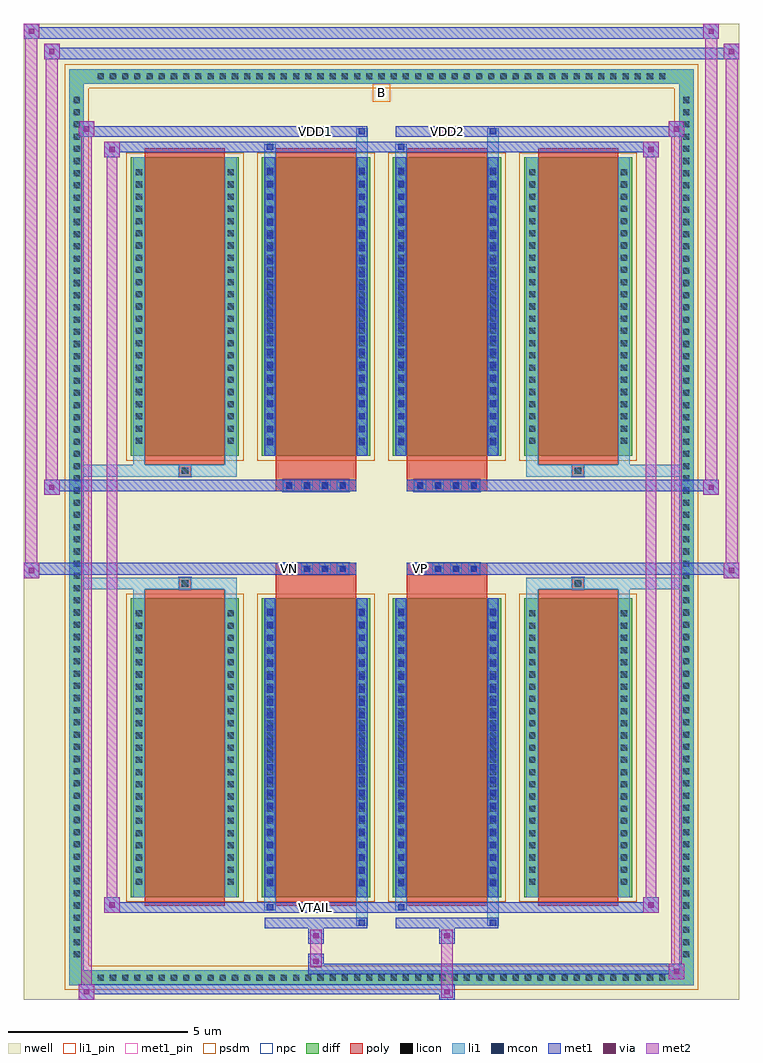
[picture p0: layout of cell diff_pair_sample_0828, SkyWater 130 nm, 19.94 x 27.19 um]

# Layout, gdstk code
import gdstk
lib = gdstk.Library(unit=1e-6, precision=5e-09)
def R(c, l, rs):  # rectangles x0, y0, x1, y1
    for r in rs: c.add(gdstk.rectangle(r[:2], r[2:], *l))
def A(c, l, x, y, w, h, nx, ny, dx, dy):  # array of equal rectangles
    R(c, l, [(x+i*dx, y+j*dy, x+i*dx+w, y+j*dy+h) for i in range(nx) for j in range(ny)])
def P(c, l, *ps):  # polygons
    for p in ps: c.add(gdstk.Polygon(p, *l))
nwell = (64, 20)
diff = (65, 20)
poly = (66, 20)
licon = (66, 44)
li1_pin = (67, 16)
li1 = (67, 20)
mcon = (67, 44)
met1_pin = (68, 16)
met1 = (68, 20)
via = (68, 44)
met2 = (69, 20)
psdm = (94, 20)
npc = (95, 20)

diff_pair_sample_0828 = lib.new_cell('diff_pair_sample_0828')
R(diff_pair_sample_0828, nwell, [(-9.97,-13.16,9.97,14.03), (-7.29,-11.35,-0.01,-0.795), (0.01,-11.35,7.29,-0.795), (-7.29,0.795,-0.01,11.35), (0.01,0.795,7.29,11.35)])
A(diff_pair_sample_0828, diff, -8.025, -12.76, 0.41, 0.41, 47, 2, 0.34, 25.11)
A(diff_pair_sample_0828, diff, -8.7, -12.105, 0.41, 0.41, 1, 71, 0, 0.34)
A(diff_pair_sample_0828, diff, 8.29, -12.105, 0.41, 0.41, 1, 71, 0, 0.34)
A(diff_pair_sample_0828, diff, -6.98, -10.305, 3.01, 8.32, 4, 2, 3.65, 12.29)
R(diff_pair_sample_0828, diff, [(-8.025,-12.76,8.025,-12.35), (-8.7,-12.105,-8.29,12.105), (8.29,-12.105,8.7,12.105), (-8.025,12.35,8.025,12.76)])
P(diff_pair_sample_0828, diff, [(8.7,12.76),(-8.7,12.76),(-8.7,-12.35),(-8.29,-12.35),(-8.29,12.35),(8.29,12.35),(8.29,-12.35),(-8.29,-12.35),(-8.7,-12.35),(-8.7,-12.76),(8.7,-12.76)])
A(diff_pair_sample_0828, poly, -6.59, -10.555, 2.23, 8.82, 4, 2, 3.65, 12.29)
A(diff_pair_sample_0828, poly, -2.74, -1.325, 0.33, 0.33, 4, 2, 0.5, 2.32)
A(diff_pair_sample_0828, poly, 0.91, -1.325, 0.33, 0.33, 4, 2, 0.5, 2.32)
R(diff_pair_sample_0828, poly, [(-5.64,-1.735,-5.31,-1.405), (-5.64,-1.735,-5.31,-1.405), (-2.94,-1.735,-0.71,-1.325), (0.71,-1.735,2.94,-1.325), (5.31,-1.735,5.64,-1.405), (5.31,-1.735,5.64,-1.405), (-2.94,-1.325,-0.71,-0.995), (0.71,-1.325,2.94,-0.995), (-2.94,0.995,-0.71,1.325), (0.71,0.995,2.94,1.325), (-2.94,1.325,-0.71,1.735), (0.71,1.325,2.94,1.735), (-5.64,1.405,-5.31,1.735), (-5.64,1.405,-5.31,1.735), (5.31,1.405,5.64,1.735), (5.31,1.405,5.64,1.735)])
A(diff_pair_sample_0828, licon, -7.905, -12.64, 0.17, 0.17, 47, 2, 0.34, 25.11)
A(diff_pair_sample_0828, licon, -8.58, -11.985, 0.17, 0.17, 1, 71, 0, 0.34)
A(diff_pair_sample_0828, licon, 8.41, -11.985, 0.17, 0.17, 1, 71, 0, 0.34)
A(diff_pair_sample_0828, licon, -6.84, -9.97, 0.17, 0.17, 1, 23, 0, 0.34)
A(diff_pair_sample_0828, licon, -4.28, -9.97, 0.17, 0.17, 1, 23, 0, 0.34)
A(diff_pair_sample_0828, licon, -3.19, -9.97, 0.17, 0.17, 1, 23, 0, 0.34)
A(diff_pair_sample_0828, licon, -0.63, -9.97, 0.17, 0.17, 1, 23, 0, 0.34)
A(diff_pair_sample_0828, licon, 0.46, -9.97, 0.17, 0.17, 1, 23, 0, 0.34)
A(diff_pair_sample_0828, licon, 3.02, -9.97, 0.17, 0.17, 1, 23, 0, 0.34)
A(diff_pair_sample_0828, licon, 4.11, -9.97, 0.17, 0.17, 1, 23, 0, 0.34)
A(diff_pair_sample_0828, licon, 6.67, -9.97, 0.17, 0.17, 1, 23, 0, 0.34)
A(diff_pair_sample_0828, licon, -2.66, -1.245, 0.17, 0.17, 4, 2, 0.5, 2.32)
A(diff_pair_sample_0828, licon, 0.99, -1.245, 0.17, 0.17, 4, 2, 0.5, 2.32)
A(diff_pair_sample_0828, licon, -6.84, 2.32, 0.17, 0.17, 1, 23, 0, 0.34)
A(diff_pair_sample_0828, licon, -4.28, 2.32, 0.17, 0.17, 1, 23, 0, 0.34)
A(diff_pair_sample_0828, licon, -3.19, 2.32, 0.17, 0.17, 1, 23, 0, 0.34)
A(diff_pair_sample_0828, licon, -0.63, 2.32, 0.17, 0.17, 1, 23, 0, 0.34)
A(diff_pair_sample_0828, licon, 0.46, 2.32, 0.17, 0.17, 1, 23, 0, 0.34)
A(diff_pair_sample_0828, licon, 3.02, 2.32, 0.17, 0.17, 1, 23, 0, 0.34)
A(diff_pair_sample_0828, licon, 4.11, 2.32, 0.17, 0.17, 1, 23, 0, 0.34)
A(diff_pair_sample_0828, licon, 6.67, 2.32, 0.17, 0.17, 1, 23, 0, 0.34)
R(diff_pair_sample_0828, licon, [(-5.56,-1.655,-5.39,-1.485), (5.39,-1.655,5.56,-1.485), (-5.56,1.485,-5.39,1.655), (5.39,1.485,5.56,1.655)])
R(diff_pair_sample_0828, li1_pin, [(-0.25,11.85,0.25,12.35)])
A(diff_pair_sample_0828, li1, -7.985, -12.72, 0.33, 0.33, 47, 2, 0.34, 25.11)
A(diff_pair_sample_0828, li1, -8.66, -12.065, 0.33, 0.33, 1, 71, 0, 0.34)
A(diff_pair_sample_0828, li1, 8.33, -12.065, 0.33, 0.33, 1, 71, 0, 0.34)
A(diff_pair_sample_0828, li1, -6.92, -10.05, 0.33, 0.33, 1, 23, 0, 0.34)
A(diff_pair_sample_0828, li1, -4.36, -10.05, 0.33, 0.33, 1, 23, 0, 0.34)
A(diff_pair_sample_0828, li1, -3.27, -10.05, 0.33, 0.33, 1, 23, 0, 0.34)
A(diff_pair_sample_0828, li1, -0.71, -10.05, 0.33, 0.33, 1, 23, 0, 0.34)
A(diff_pair_sample_0828, li1, 0.38, -10.05, 0.33, 0.33, 1, 23, 0, 0.34)
A(diff_pair_sample_0828, li1, 2.94, -10.05, 0.33, 0.33, 1, 23, 0, 0.34)
A(diff_pair_sample_0828, li1, 4.03, -10.05, 0.33, 0.33, 1, 23, 0, 0.34)
A(diff_pair_sample_0828, li1, 6.59, -10.05, 0.33, 0.33, 1, 23, 0, 0.34)
A(diff_pair_sample_0828, li1, -3.19, -10.01, 0.17, 0.17, 1, 22, 0, 0.36)
A(diff_pair_sample_0828, li1, -0.63, -10.01, 0.17, 0.17, 1, 22, 0, 0.36)
A(diff_pair_sample_0828, li1, 0.46, -10.01, 0.17, 0.17, 1, 22, 0, 0.36)
A(diff_pair_sample_0828, li1, 3.02, -10.01, 0.17, 0.17, 1, 22, 0, 0.36)
A(diff_pair_sample_0828, li1, -2.74, -1.325, 0.33, 0.33, 4, 2, 0.5, 2.32)
A(diff_pair_sample_0828, li1, 0.91, -1.325, 0.33, 0.33, 4, 2, 0.5, 2.32)
A(diff_pair_sample_0828, li1, -6.92, 2.24, 0.33, 0.33, 1, 23, 0, 0.34)
A(diff_pair_sample_0828, li1, -4.36, 2.24, 0.33, 0.33, 1, 23, 0, 0.34)
A(diff_pair_sample_0828, li1, -3.27, 2.24, 0.33, 0.33, 1, 23, 0, 0.34)
A(diff_pair_sample_0828, li1, -0.71, 2.24, 0.33, 0.33, 1, 23, 0, 0.34)
A(diff_pair_sample_0828, li1, 0.38, 2.24, 0.33, 0.33, 1, 23, 0, 0.34)
A(diff_pair_sample_0828, li1, 2.94, 2.24, 0.33, 0.33, 1, 23, 0, 0.34)
A(diff_pair_sample_0828, li1, 4.03, 2.24, 0.33, 0.33, 1, 23, 0, 0.34)
A(diff_pair_sample_0828, li1, 6.59, 2.24, 0.33, 0.33, 1, 23, 0, 0.34)
A(diff_pair_sample_0828, li1, -3.19, 2.28, 0.17, 0.17, 1, 22, 0, 0.36)
A(diff_pair_sample_0828, li1, -0.63, 2.28, 0.17, 0.17, 1, 22, 0, 0.36)
A(diff_pair_sample_0828, li1, 0.46, 2.28, 0.17, 0.17, 1, 22, 0, 0.36)
A(diff_pair_sample_0828, li1, 3.02, 2.28, 0.17, 0.17, 1, 22, 0, 0.36)
R(diff_pair_sample_0828, li1, [(-8.7,-12.76,-8.29,-12.35), (-8.7,-12.76,-8.29,-12.35), (-8.29,-12.76,8.29,-12.35), (8.29,-12.76,8.7,-12.35), (8.29,-12.76,8.7,-12.35), (-8.7,-12.35,-8.29,12.35), (8.29,-12.35,8.7,12.35), (-0.71,-11.11,-0.38,-10.305), (-0.63,-11.11,-0.46,-10.94), (2.94,-11.11,3.27,-10.305), (3.02,-11.11,3.19,-10.94), (-3.27,-10.68,-2.94,-10.305), (-3.19,-10.68,-3.02,-10.51), (0.38,-10.68,0.71,-10.305), (0.46,-10.68,0.63,-10.51), (-6.92,-10.305,-6.59,-1.985), (-4.36,-10.305,-4.03,-1.985), (-3.27,-10.305,-2.94,-1.985), (-0.71,-10.305,-0.38,-1.985), (0.38,-10.305,0.71,-1.985), (2.94,-10.305,3.27,-1.985), (4.03,-10.305,4.36,-1.985), (6.59,-10.305,6.92,-1.985), (-3.19,-10.01,-3.02,-2.28), (-0.63,-10.01,-0.46,-2.28), (0.46,-10.01,0.63,-2.28), (3.02,-10.01,3.19,-2.28), (-6.92,-1.985,-6.59,-1.405), (-4.36,-1.985,-4.03,-1.405), (4.03,-1.985,4.36,-1.405), (6.59,-1.985,6.92,-1.405), (-8.7,-1.735,-5.64,-1.405), (-6.92,-1.735,-5.64,-1.405), (-5.64,-1.735,-5.31,-1.405), (-5.31,-1.735,-4.03,-1.405), (4.03,-1.735,5.31,-1.405), (5.31,-1.735,5.64,-1.405), (5.31,-1.735,8.7,-1.405), (5.64,-1.735,6.92,-1.405), (-8.7,1.405,-5.64,1.735), (-6.92,1.405,-5.64,1.735), (-6.92,1.405,-6.59,1.985), (-5.64,1.405,-5.31,1.735), (-5.31,1.405,-4.03,1.735), (-4.36,1.405,-4.03,1.985), (4.03,1.405,5.31,1.735), (4.03,1.405,4.36,1.985), (5.31,1.405,5.64,1.735), (5.31,1.405,8.7,1.735), (5.64,1.405,6.92,1.735), (6.59,1.405,6.92,1.985), (-6.92,1.985,-6.59,10.305), (-4.36,1.985,-4.03,10.305), (-3.27,1.985,-2.94,10.305), (-0.71,1.985,-0.38,10.305), (0.38,1.985,0.71,10.305), (2.94,1.985,3.27,10.305), (4.03,1.985,4.36,10.305), (6.59,1.985,6.92,10.305), (-3.19,2.28,-3.02,10.01), (-0.63,2.28,-0.46,10.01), (0.46,2.28,0.63,10.01), (3.02,2.28,3.19,10.01), (-3.27,10.305,-2.94,10.68), (-0.71,10.305,-0.38,11.11), (0.38,10.305,0.71,10.68), (2.94,10.305,3.27,11.11), (-3.19,10.51,-3.02,10.68), (0.46,10.51,0.63,10.68), (-0.63,10.94,-0.46,11.11), (3.02,10.94,3.19,11.11), (-8.7,12.35,-8.29,12.76), (-8.7,12.35,-8.29,12.76), (-8.29,12.35,8.29,12.76), (8.29,12.35,8.7,12.76), (8.29,12.35,8.7,12.76)])
A(diff_pair_sample_0828, mcon, -3.19, -10.01, 0.17, 0.17, 1, 22, 0, 0.36)
A(diff_pair_sample_0828, mcon, -0.63, -10.01, 0.17, 0.17, 1, 22, 0, 0.36)
A(diff_pair_sample_0828, mcon, 0.46, -10.01, 0.17, 0.17, 1, 22, 0, 0.36)
A(diff_pair_sample_0828, mcon, 3.02, -10.01, 0.17, 0.17, 1, 22, 0, 0.36)
A(diff_pair_sample_0828, mcon, -2.66, -1.245, 0.17, 0.17, 4, 2, 0.5, 2.32)
A(diff_pair_sample_0828, mcon, 0.99, -1.245, 0.17, 0.17, 4, 2, 0.5, 2.32)
A(diff_pair_sample_0828, mcon, -3.19, 2.28, 0.17, 0.17, 1, 22, 0, 0.36)
A(diff_pair_sample_0828, mcon, -0.63, 2.28, 0.17, 0.17, 1, 22, 0, 0.36)
A(diff_pair_sample_0828, mcon, 0.46, 2.28, 0.17, 0.17, 1, 22, 0, 0.36)
A(diff_pair_sample_0828, mcon, 3.02, 2.28, 0.17, 0.17, 1, 22, 0, 0.36)
R(diff_pair_sample_0828, mcon, [(-0.63,-11.11,-0.46,-10.94), (3.02,-11.11,3.19,-10.94), (-3.19,-10.68,-3.02,-10.51), (0.46,-10.68,0.63,-10.51), (-3.19,10.51,-3.02,10.68), (0.46,10.51,0.63,10.68), (-0.63,10.94,-0.46,11.11), (3.02,10.94,3.19,11.11)])
R(diff_pair_sample_0828, met1_pin, [(-1.96,-10.72,-1.69,-10.45), (-2.71,-1.285,-2.44,-1.015), (0.94,-1.285,1.21,-1.015), (-1.96,10.9,-1.69,11.17), (1.69,10.9,1.96,11.17)])
A(diff_pair_sample_0828, met1, -3.25, -10.07, 0.29, 0.29, 1, 22, 0, 0.36)
A(diff_pair_sample_0828, met1, -0.69, -10.07, 0.29, 0.29, 1, 22, 0, 0.36)
A(diff_pair_sample_0828, met1, 0.4, -10.07, 0.29, 0.29, 1, 22, 0, 0.36)
A(diff_pair_sample_0828, met1, 2.96, -10.07, 0.29, 0.29, 1, 22, 0, 0.36)
A(diff_pair_sample_0828, met1, -2.72, -1.305, 0.29, 0.29, 4, 2, 0.5, 2.32)
A(diff_pair_sample_0828, met1, 0.93, -1.305, 0.29, 0.29, 4, 2, 0.5, 2.32)
A(diff_pair_sample_0828, met1, -3.25, 2.22, 0.29, 0.29, 1, 22, 0, 0.36)
A(diff_pair_sample_0828, met1, -0.69, 2.22, 0.29, 0.29, 1, 22, 0, 0.36)
A(diff_pair_sample_0828, met1, 0.4, 2.22, 0.29, 0.29, 1, 22, 0, 0.36)
A(diff_pair_sample_0828, met1, 2.96, 2.22, 0.29, 0.29, 1, 22, 0, 0.36)
R(diff_pair_sample_0828, met1, [(-8.43,-13.16,-8,-12.73), (1.61,-13.16,2.04,-12.73), (-8.43,-13.02,2.04,-12.73), (8,-12.59,8.43,-12.16), (-2.04,-12.45,8.43,-12.16), (-2.04,-12.31,-1.61,-11.88), (-2.04,-11.6,-1.61,-11.17), (1.61,-11.6,2.04,-11.17), (-3.25,-11.17,-0.4,-10.88), (-0.69,-11.17,-0.4,-10.88), (0.4,-11.17,3.25,-10.88), (2.96,-11.17,3.25,-10.88), (-7.72,-10.74,-7.29,-10.31), (-7.72,-10.74,-3.25,-10.45), (-3.25,-10.74,-2.96,-10.45), (-3.25,-10.74,-0.4,-10.45), (-0.4,-10.74,0.4,-10.45), (0.4,-10.74,0.69,-10.45), (0.4,-10.74,3.25,-10.45), (3.25,-10.74,7.72,-10.45), (7.29,-10.74,7.72,-10.31), (-3.25,-10.305,-2.96,-1.985), (-0.69,-10.305,-0.4,-1.985), (0.4,-10.305,0.69,-1.985), (2.96,-10.305,3.25,-1.985), (-9.97,-1.425,-9.54,-0.995), (9.54,-1.425,9.97,-0.995), (-9.97,-1.325,-0.71,-0.995), (-2.94,-1.325,-0.71,-0.995), (0.71,-1.325,2.94,-0.995), (0.71,-1.325,9.97,-0.995), (-9.4,0.895,-8.97,1.325), (8.97,0.895,9.4,1.325), (-9.4,0.995,-2.94,1.325), (-2.94,0.995,-0.71,1.325), (0.71,0.995,2.94,1.325), (2.94,0.995,9.4,1.325), (-3.25,1.985,-2.96,10.305), (-0.69,1.985,-0.4,10.305), (0.4,1.985,0.69,10.305), (2.96,1.985,3.25,10.305), (-7.72,10.31,-7.29,10.74), (7.29,10.31,7.72,10.74), (-7.72,10.45,-3.25,10.74), (-3.25,10.45,-2.96,10.74), (-3.25,10.45,-0.4,10.74), (-0.4,10.45,0.4,10.74), (0.4,10.45,0.69,10.74), (0.4,10.45,3.25,10.74), (3.25,10.45,7.72,10.74), (-8.43,10.88,-8,11.31), (-8.43,10.88,-3.25,11.17), (-3.25,10.88,-0.4,11.17), (-0.69,10.88,-0.4,11.17), (0.4,10.88,3.25,11.17), (2.96,10.88,3.25,11.17), (3.25,10.88,8.43,11.17), (8,10.88,8.43,11.31), (-9.4,13.03,-8.97,13.46), (-9.4,13.03,-7.29,13.36), (-7.29,13.03,7.29,13.36), (7.29,13.03,9.97,13.36), (9.54,13.03,9.97,13.46), (-9.97,13.6,-9.54,14.03), (-9.97,13.6,-7.29,13.93), (-7.29,13.6,7.29,13.93), (7.29,13.6,9.4,13.93), (8.97,13.6,9.4,14.03)])
R(diff_pair_sample_0828, via, [(-8.29,-13.02,-8.14,-12.87), (1.75,-13.02,1.9,-12.87), (8.14,-12.45,8.29,-12.3), (-1.9,-12.17,-1.75,-12.02), (-1.9,-11.46,-1.75,-11.31), (1.75,-11.46,1.9,-11.31), (-7.58,-10.6,-7.43,-10.45), (7.43,-10.6,7.58,-10.45), (-9.83,-1.285,-9.68,-1.135), (9.68,-1.285,9.83,-1.135), (-9.26,1.035,-9.11,1.185), (9.11,1.035,9.26,1.185), (-7.58,10.45,-7.43,10.6), (7.43,10.45,7.58,10.6), (-8.29,11.02,-8.14,11.17), (8.14,11.02,8.29,11.17), (-9.26,13.17,-9.11,13.32), (9.68,13.17,9.83,13.32), (-9.83,13.74,-9.68,13.89), (9.11,13.74,9.26,13.89)])
R(diff_pair_sample_0828, met2, [(-8.43,-13.16,-8,-12.73), (-8.36,-13.16,-8.07,11.31), (-8.07,-13.16,-8,-12.73), (-8.38,-13.11,-8.05,-12.78), (1.66,-13.11,1.99,-12.78), (1.66,-12.78,1.99,-11.55), (8,-12.59,8.43,-12.16), (8.07,-12.59,8.36,11.31), (8.36,-12.59,8.43,-12.16), (8.05,-12.54,8.38,-12.21), (-1.99,-12.26,-1.66,-11.93), (-1.99,-11.93,-1.66,-11.55), (-1.99,-11.55,-1.66,-11.22), (1.66,-11.55,1.99,-11.22), (-7.72,-10.74,-7.29,-10.31), (-7.65,-10.74,-7.36,10.74), (-7.36,-10.74,-7.29,-10.31), (7.29,-10.74,7.72,-10.31), (7.36,-10.74,7.65,10.74), (7.65,-10.74,7.72,-10.31), (-7.67,-10.69,-7.34,-10.36), (7.34,-10.69,7.67,-10.36), (-9.97,-1.425,-9.54,-0.995), (-9.92,-1.425,-9.59,14.03), (-9.59,-1.425,-9.54,-0.995), (9.54,-1.425,9.97,-0.995), (9.59,-1.425,9.92,13.46), (9.92,-1.425,9.97,-0.995), (-9.92,-1.375,-9.59,-1.045), (9.59,-1.375,9.92,-1.045), (-9.4,0.895,-8.97,1.325), (-9.35,0.895,-9.02,13.46), (-9.02,0.895,-8.97,1.325), (8.97,0.895,9.4,1.325), (9.02,0.895,9.35,14.03), (9.35,0.895,9.4,1.325), (-9.35,0.945,-9.02,1.275), (9.02,0.945,9.35,1.275), (-7.72,10.31,-7.29,10.74), (-7.36,10.31,-7.29,10.74), (7.29,10.31,7.72,10.74), (7.65,10.31,7.72,10.74), (-7.67,10.36,-7.34,10.69), (7.34,10.36,7.67,10.69), (-8.43,10.88,-8,11.31), (-8.07,10.88,-8,11.31), (8,10.88,8.43,11.31), (8.36,10.88,8.43,11.31), (-8.38,10.93,-8.05,11.26), (8.05,10.93,8.38,11.26), (-9.4,13.03,-8.97,13.46), (-9.02,13.03,-8.97,13.46), (9.54,13.03,9.97,13.46), (9.92,13.03,9.97,13.46), (-9.35,13.08,-9.02,13.41), (9.59,13.08,9.92,13.41), (-9.97,13.6,-9.54,14.03), (-9.59,13.6,-9.54,14.03), (8.97,13.6,9.4,14.03), (9.35,13.6,9.4,14.03), (-9.92,13.65,-9.59,13.98), (9.02,13.65,9.35,13.98)])
A(diff_pair_sample_0828, psdm, -7.11, -10.435, 3.27, 8.58, 4, 2, 3.65, 12.29)
P(diff_pair_sample_0828, psdm, [(8.83,12.89),(-8.83,12.89),(-8.83,-12.22),(-8.16,-12.22),(-8.16,12.22),(8.16,12.22),(8.16,-12.22),(-8.16,-12.22),(-8.83,-12.22),(-8.83,-12.89),(8.83,-12.89)])
A(diff_pair_sample_0828, npc, -2.76, -1.345, 0.37, 0.37, 4, 2, 0.5, 2.32)
A(diff_pair_sample_0828, npc, 0.89, -1.345, 0.37, 0.37, 4, 2, 0.5, 2.32)
R(diff_pair_sample_0828, npc, [(-5.66,-1.755,-5.29,-1.385), (5.29,-1.755,5.66,-1.385), (-2.76,-1.345,-1.89,-0.975), (-2.76,-1.345,-1.89,-0.975), (-2.26,-1.345,-1.39,-0.975), (-2.26,-1.345,-1.39,-0.975), (-1.76,-1.345,-0.89,-0.975), (-1.76,-1.345,-0.89,-0.975), (0.89,-1.345,1.76,-0.975), (0.89,-1.345,1.76,-0.975), (1.39,-1.345,2.26,-0.975), (1.39,-1.345,2.26,-0.975), (1.89,-1.345,2.76,-0.975), (1.89,-1.345,2.76,-0.975), (-2.76,0.975,-1.89,1.345), (-2.76,0.975,-1.89,1.345), (-2.26,0.975,-1.39,1.345), (-2.26,0.975,-1.39,1.345), (-1.76,0.975,-0.89,1.345), (-1.76,0.975,-0.89,1.345), (0.89,0.975,1.76,1.345), (0.89,0.975,1.76,1.345), (1.39,0.975,2.26,1.345), (1.39,0.975,2.26,1.345), (1.89,0.975,2.76,1.345), (1.89,0.975,2.76,1.345), (-5.66,1.385,-5.29,1.755), (5.29,1.385,5.66,1.755)])
diff_pair_sample_0828.add(gdstk.Label('VTAIL', (-1.825,-10.585), layer=68, texttype=5))
diff_pair_sample_0828.add(gdstk.Label('VN', (-2.575,-1.15), layer=68, texttype=5))
diff_pair_sample_0828.add(gdstk.Label('VP', (1.075,-1.15), layer=68, texttype=5))
diff_pair_sample_0828.add(gdstk.Label('B', (0,12.1), layer=67, texttype=5))
diff_pair_sample_0828.add(gdstk.Label('VDD2', (1.825,11.035), layer=68, texttype=5))
diff_pair_sample_0828.add(gdstk.Label('VDD1', (-1.825,11.035), layer=68, texttype=5))

lib.write_gds('diff_pair_sample_0828.gds')
